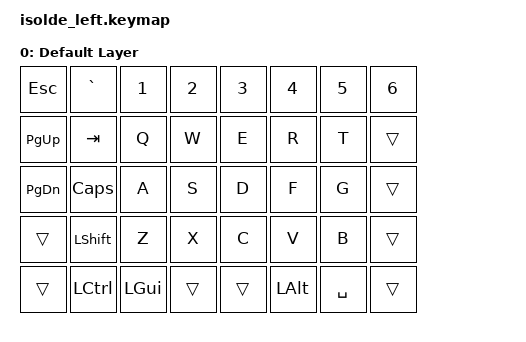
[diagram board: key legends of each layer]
/*
 * Copyright (c) 2022 The ZMK Contributors
 *
 * SPDX-License-Identifier: MIT
 */

#include <behaviors.dtsi>
#include <dt-bindings/zmk/keys.h>


// Using layer taps on thumbs, having quick tap as well helps w/ repeating space/backspace
&lt { quick-tap-ms = <200>; };

/ {
    keymap {
        compatible = "zmk,keymap";

        default_layer {
            display-name = "Default Layer";
            bindings = <
                &kp ESC   &kp GRAVE  &kp N1          &kp N2  &kp N3  &kp N4   &kp N5         &kp N6  
                &kp PG_UP &kp TAB    &kp Q           &kp W   &kp E   &kp R    &kp T          &trans
                &kp PG_DN &kp CAPS   &kp A           &kp S   &kp D   &kp F    &kp G          &trans
                &trans     &kp LSHFT  &kp Z           &kp X   &kp C   &kp V    &kp B         &trans
                &trans     &kp LCTRL  &kp LGUI        &trans   &trans   &kp LALT &kp SPACE   &trans   
                        >;
        };
        
    };
};
